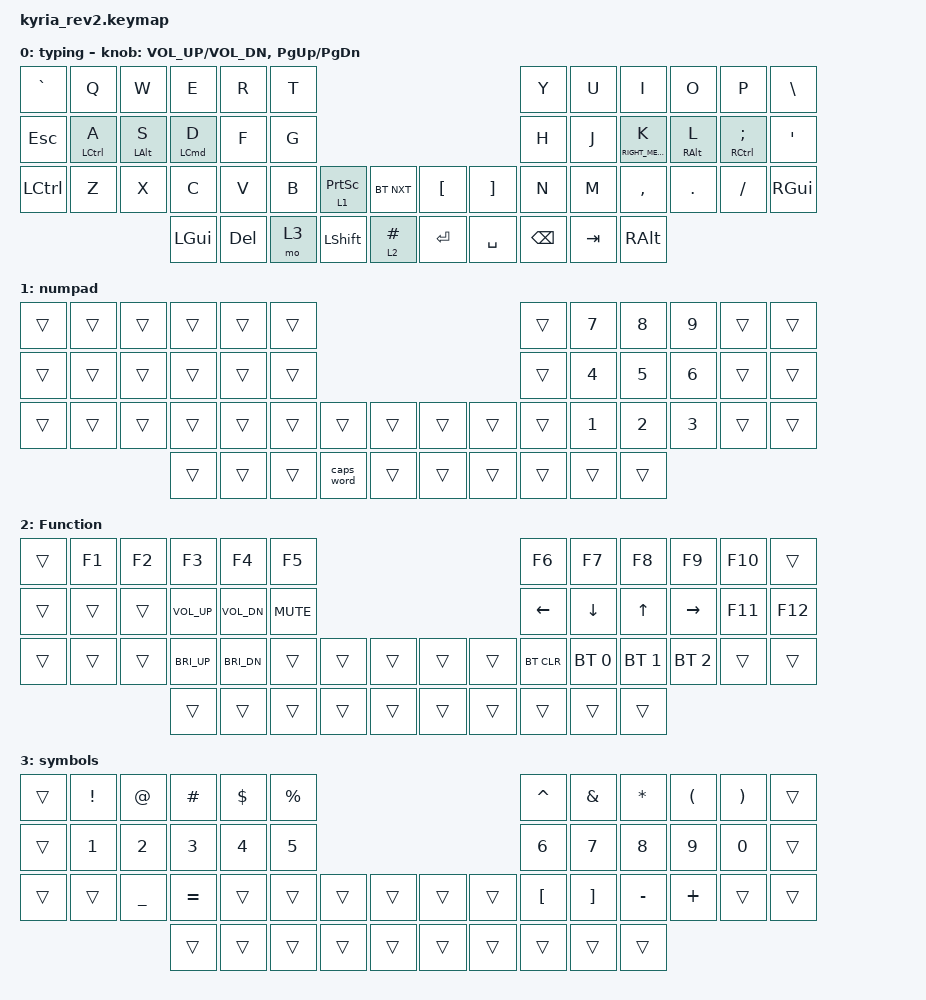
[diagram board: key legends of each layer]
/*
 * Copyright (c) 2020 The ZMK Contributors
 *
 * SPDX-License-Identifier: MIT
 */

#include <behaviors.dtsi>
#include <dt-bindings/zmk/keys.h>
#include <dt-bindings/zmk/bt.h>


/ {
    behaviors {
        ht_tp: homerow_mods {
            compatible = "zmk,behavior-hold-tap";
            label = "HOMEROW_MODS";
            #binding-cells = <2>;
            tapping-term-ms = <150>;
            quick-tap-ms = <0>;
            flavor = "tap-preferred";
            bindings = <&kp>, <&kp>;
        };
    };


    keymap {
        compatible = "zmk,keymap";

        typing {
            // ---------------------------------------------------------------------------------------------------------------------------------
            // |  ESC  |  Q  |  W  |  E   |  R   |  T   |                                          |  Y   |  U    |  I    |  O   |   P   |   \  |
            // |  TAB  |  A  |  S  |  D   |  F   |  G   |                                          |  H   |  J    |  K    |  L   |   ;   |   '  |
            // | SHIFT |  Z  |  X  |  C   |  V   |  B   | L SHIFT | L SHIFT |  | L SHIFT | L SHIFT |  N   |  M    |  ,    |  .   |   /   | CTRL |
            //                     | GUI  | DEL  | RET  |  SPACE  |   ESC   |  |   RET   |  SPACE  | TAB  | BSPC  | R-ALT |

            bindings = <
&kp GRAVE               &kp Q           &kp W       &kp E    &kp R  &kp T                                                                               &kp Y    &kp U             &kp I            &kp O                        &kp P  &kp BSLH
  &kp ESC  &ht_tp LEFT_CONTROL A  &ht_tp LEFT_ALT S  &ht_tp LCMD D    &kp F  &kp G                                                                               &kp H    &kp J  &ht_tp RIGHT_META K  &ht_tp RIGHT_ALT L  &ht_tp RIGHT_CONTROL SEMICOLON   &kp SQT
&kp LCTRL               &kp Z           &kp X       &kp C    &kp V  &kp B  &lt 1 PRINTSCREEN   &bt BT_NXT  &kp LEFT_BRACKET  &kp RIGHT_BRACKET          &kp N    &kp M         &kp COMMA          &kp DOT                     &kp FSLH  &kp RGUI
                                                 &kp LGUI  &kp DEL  &mo 3     &kp LEFT_SHIFT  &lt 2 POUND           &kp RET          &kp SPACE  &kp BACKSPACE  &kp TAB          &kp RALT
            >;

            sensor-bindings = <&inc_dec_kp C_VOL_UP C_VOL_DN &inc_dec_kp PG_UP PG_DN>;
        };

        numpad {
            bindings = <
&trans  &trans  &trans  &trans  &trans  &trans                                      &trans  &kp NUMBER_7  &kp NUMBER_8  &kp NUMBER_9  &trans  &trans
&trans  &trans  &trans  &trans  &trans  &trans                                      &trans  &kp NUMBER_4  &kp NUMBER_5  &kp NUMBER_6  &trans  &trans
&trans  &trans  &trans  &trans  &trans  &trans      &trans  &trans  &trans  &trans  &trans  &kp NUMBER_1  &kp NUMBER_2  &kp NUMBER_3  &trans  &trans
                        &trans  &trans  &trans  &caps_word  &trans  &trans  &trans  &trans        &trans        &trans
            >;
        };

        Function {
            bindings = <
&trans  &kp F1  &kp F2        &kp F3        &kp F4      &kp F5                                      &kp F6        &kp F7        &kp F8        &kp F9  &kp F10   &trans
&trans  &trans  &trans  &kp C_VOL_UP  &kp C_VOL_DN  &kp C_MUTE                                    &kp LEFT      &kp DOWN        &kp UP     &kp RIGHT  &kp F11  &kp F12
&trans  &trans  &trans  &kp C_BRI_UP  &kp C_BRI_DN      &trans  &trans  &trans  &trans  &trans  &bt BT_CLR  &bt BT_SEL 0  &bt BT_SEL 1  &bt BT_SEL 2   &trans   &trans
                              &trans        &trans      &trans  &trans  &trans  &trans  &trans      &trans        &trans        &trans
            >;
        };

        symbols {
            bindings = <
&trans  &kp EXCLAMATION          &kp AT      &kp HASH    &kp DOLLAR   &kp PERCENT                                         &kp CARET      &kp AMPERSAND  &kp ASTERISK  &kp LEFT_PARENTHESIS  &kp RIGHT_PARENTHESIS  &trans
&trans     &kp NUMBER_1    &kp NUMBER_2  &kp NUMBER_3  &kp NUMBER_4  &kp NUMBER_5                                      &kp NUMBER_6       &kp NUMBER_7  &kp NUMBER_8          &kp NUMBER_9           &kp NUMBER_0  &trans
&trans           &trans  &kp UNDERSCORE     &kp EQUAL        &trans        &trans  &trans  &trans  &trans  &trans  &kp LEFT_BRACKET  &kp RIGHT_BRACKET     &kp MINUS              &kp PLUS                 &trans  &trans
                                               &trans        &trans        &trans  &trans  &trans  &trans  &trans            &trans             &trans        &trans
            >;
        };
    };
};
